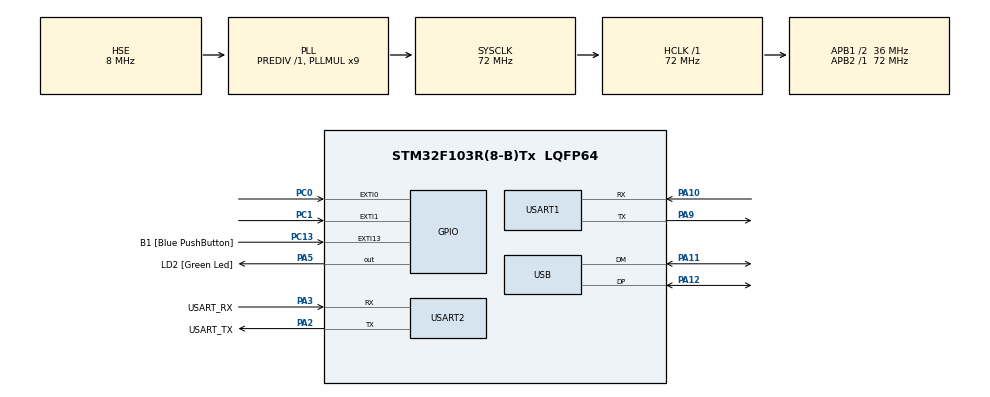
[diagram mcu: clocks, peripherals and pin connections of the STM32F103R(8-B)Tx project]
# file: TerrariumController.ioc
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FREERTOS.Tasks01=defaultTask,24,128,StartDefaultTask,Default,NULL,Dynamic,NULL,NULL
FREERTOS.configUSE_NEWLIB_REENTRANT=1
Mcu.Family=STM32F1
Mcu.Name=STM32F103R(8-B)Tx
Mcu.Package=LQFP64
NVIC.EXTI0_IRQn=true\:5\:0\:false\:false\:true\:true\:true\:true\:true
NVIC.EXTI15_10_IRQn=true\:5\:0\:false\:false\:true\:true\:true\:true\:true
NVIC.EXTI1_IRQn=true\:5\:0\:false\:false\:true\:true\:true\:true\:true
NVIC.PriorityGroup=NVIC_PRIORITYGROUP_4
NVIC.TIM1_UP_IRQn=true\:5\:0\:true\:false\:true\:false\:false\:true\:true
NVIC.TimeBase=TIM1_UP_IRQn
NVIC.TimeBaseIP=TIM1
NVIC.USART1_IRQn=true\:5\:0\:false\:false\:true\:true\:true\:true\:true
NVIC.USART2_IRQn=true\:5\:0\:false\:false\:true\:true\:true\:true\:true
NVIC.USB_LP_CAN1_RX0_IRQn=true\:5\:0\:false\:false\:true\:true\:false\:true\:true
PA10.Mode=Asynchronous
PA10.Signal=USART1_RX
PA11.Mode=Device
PA11.Signal=USB_DM
PA12.Mode=Device
PA12.Signal=USB_DP
PA13.GPIO_Label=TMS
PA13.Mode=Serial_Wire
PA13.Signal=SYS_JTMS-SWDIO
PA14.GPIO_Label=TCK
PA14.Mode=Serial_Wire
PA14.Signal=SYS_JTCK-SWCLK
PA2.GPIO_Label=USART_TX
PA2.GPIO_Mode=GPIO_MODE_AF_PP
PA2.GPIO_PuPd=GPIO_NOPULL
PA2.GPIO_Speed=GPIO_SPEED_FREQ_LOW
PA2.Mode=Asynchronous
PA2.Signal=USART2_TX
PA3.GPIO_Label=USART_RX
PA3.GPIO_Mode=GPIO_MODE_AF_PP
PA3.GPIO_PuPd=GPIO_NOPULL
PA3.GPIO_Speed=GPIO_SPEED_FREQ_LOW
PA3.Mode=Asynchronous
PA3.Signal=USART2_RX
PA5.GPIO_Label=LD2 [Green Led]
PA5.GPIO_ModeDefaultOutputPP=GPIO_MODE_OUTPUT_PP
PA5.GPIO_PuPd=GPIO_NOPULL
PA5.GPIO_Speed=GPIO_SPEED_FREQ_LOW
PA5.Signal=GPIO_Output
PA9.Mode=Asynchronous
PA9.Signal=USART1_TX
PB3.GPIO_Label=SWO
PB3.Signal=SYS_JTDO-TRACESWO
PC0.Signal=GPXTI0
PC1.Signal=GPXTI1
PC13-TAMPER-RTC.GPIO_Label=B1 [Blue PushButton]
PC13-TAMPER-RTC.GPIO_PuPd=GPIO_NOPULL
PC13-TAMPER-RTC.Signal=GPXTI13
PC14-OSC32_IN.Mode=LSE-External-Oscillator
PC14-OSC32_IN.Signal=RCC_OSC32_IN
PC15-OSC32_OUT.Mode=LSE-External-Oscillator
PC15-OSC32_OUT.Signal=RCC_OSC32_OUT
PD0-OSC_IN.Mode=HSE-External-Oscillator
PD0-OSC_IN.Signal=RCC_OSC_IN
PD1-OSC_OUT.Mode=HSE-External-Oscillator
PD1-OSC_OUT.Signal=RCC_OSC_OUT
ProjectManager.HeapSize=0x200
ProjectManager.StackSize=0x400
ProjectManager.TargetToolchain=STM32CubeIDE
RCC.AHBFreq_Value=72000000
RCC.APB1CLKDivider=RCC_HCLK_DIV2
RCC.APB1Freq_Value=36000000
RCC.APB1TimFreq_Value=72000000
RCC.APB2Freq_Value=72000000
RCC.APB2TimFreq_Value=72000000
RCC.HCLKFreq_Value=72000000
RCC.PLLMUL=RCC_PLL_MUL9
RCC.RTCClockSelection=RCC_RTCCLKSOURCE_LSE
RCC.SYSCLKFreq_VALUE=72000000
RCC.SYSCLKSource=RCC_SYSCLKSOURCE_PLLCLK
RCC.USBFreq_Value=48000000
RCC.USBPrescaler=RCC_USBCLKSOURCE_PLL_DIV1_5
USART1.VirtualMode=VM_ASYNC
USART2.VirtualMode=VM_ASYNC
USB_DEVICE.CLASS_NAME_FS=CDC
USB_DEVICE.VirtualMode=Cdc
USB_DEVICE.VirtualModeFS=Cdc_FS
VP_FREERTOS_VS_CMSIS_V2.Mode=CMSIS_V2
VP_SYS_VS_tim1.Mode=TIM1
VP_USB_DEVICE_VS_USB_DEVICE_CDC_FS.Mode=CDC_FS
board=NUCLEO-F103RB

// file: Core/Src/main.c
/* USER CODE BEGIN Header */
/**
  ******************************************************************************
  * @file           : main.c
  * @brief          : Main program body
  ******************************************************************************
  * @attention
  *
  * Copyright (c) 2024 STMicroelectronics.
  * All rights reserved.
  *
  * This software is licensed under terms that can be found in the LICENSE file
  * in the root directory of this software component.
  * If no LICENSE file comes with this software, it is provided AS-IS.
  *
  ******************************************************************************
  */
/* USER CODE END Header */
#include "main.h"
#include "cmsis_os.h"
#include "usb_device.h"

/* USER CODE BEGIN Includes */
#include "dht11.h"
/* USER CODE END Includes */

UART_HandleTypeDef huart1;
UART_HandleTypeDef huart2;

/* Definitions for defaultTask */
osThreadId_t defaultTaskHandle;
const osThreadAttr_t defaultTask_attributes = {
  .name = "defaultTask",
  .stack_size = 128 * 4,
  .priority = (osPriority_t) osPriorityNormal,
};

void SystemClock_Config(void);
static void MX_GPIO_Init(void);
static void MX_USART2_UART_Init(void);
static void MX_USART1_UART_Init(void);
void StartDefaultTask(void *argument);

/* USER CODE BEGIN PFP */
extern void App_Init(void);

// Interrupt handlers
extern void Logger_TransmitCompleteInterruptCallback(void);
/* USER CODE END PFP */

int main(void)
{

  /* MCU Configuration--------------------------------------------------------*/

  /* Reset of all peripherals, Initializes the Flash interface and the Systick. */
  HAL_Init();

  /* Configure the system clock */
  SystemClock_Config();

  /* USER CODE BEGIN SysInit */
  CoreDebug->DEMCR |= CoreDebug_DEMCR_TRCENA_Msk;
  DWT->CYCCNT = 0;
  DWT->CTRL |= DWT_CTRL_CYCCNTENA_Msk;
  /* USER CODE END SysInit */

  /* Initialize all configured peripherals */
  MX_GPIO_Init();
  MX_USART2_UART_Init();
  MX_USART1_UART_Init();
  /* USER CODE BEGIN 2 */
  App_Init();
  /* USER CODE END 2 */

  /* Init scheduler */
  osKernelInitialize();

  /* Create the thread(s) */
  /* creation of defaultTask */
  defaultTaskHandle = osThreadNew(StartDefaultTask, NULL, &defaultTask_attributes);

  /* Start scheduler */
  osKernelStart();

  /* We should never get here as control is now taken by the scheduler */

  /* Infinite loop */
  while (1)
  {

  }
}

void SystemClock_Config(void)
{
  RCC_OscInitTypeDef RCC_OscInitStruct = {0};
  RCC_ClkInitTypeDef RCC_ClkInitStruct = {0};
  RCC_PeriphCLKInitTypeDef PeriphClkInit = {0};

  /** Initializes the RCC Oscillators according to the specified parameters
  * in the RCC_OscInitTypeDef structure.
  */
  RCC_OscInitStruct.OscillatorType = RCC_OSCILLATORTYPE_HSE;
  RCC_OscInitStruct.HSEState = RCC_HSE_ON;
  RCC_OscInitStruct.HSEPredivValue = RCC_HSE_PREDIV_DIV1;
  RCC_OscInitStruct.HSIState = RCC_HSI_ON;
  RCC_OscInitStruct.PLL.PLLState = RCC_PLL_ON;
  RCC_OscInitStruct.PLL.PLLSource = RCC_PLLSOURCE_HSE;
  RCC_OscInitStruct.PLL.PLLMUL = RCC_PLL_MUL9;
  if (HAL_RCC_OscConfig(&RCC_OscInitStruct) != HAL_OK)
  {
    Error_Handler();
  }

  /** Initializes the CPU, AHB and APB buses clocks
  */
  RCC_ClkInitStruct.ClockType = RCC_CLOCKTYPE_HCLK|RCC_CLOCKTYPE_SYSCLK
                              |RCC_CLOCKTYPE_PCLK1|RCC_CLOCKTYPE_PCLK2;
  RCC_ClkInitStruct.SYSCLKSource = RCC_SYSCLKSOURCE_PLLCLK;
  RCC_ClkInitStruct.AHBCLKDivider = RCC_SYSCLK_DIV1;
  RCC_ClkInitStruct.APB1CLKDivider = RCC_HCLK_DIV2;
  RCC_ClkInitStruct.APB2CLKDivider = RCC_HCLK_DIV1;

  if (HAL_RCC_ClockConfig(&RCC_ClkInitStruct, FLASH_LATENCY_2) != HAL_OK)
  {
    Error_Handler();
  }
  PeriphClkInit.PeriphClockSelection = RCC_PERIPHCLK_USB;
  PeriphClkInit.UsbClockSelection = RCC_USBCLKSOURCE_PLL_DIV1_5;
  if (HAL_RCCEx_PeriphCLKConfig(&PeriphClkInit) != HAL_OK)
  {
    Error_Handler();
  }
}

static void MX_USART1_UART_Init(void)
{

  huart1.Instance = USART1;
  huart1.Init.BaudRate = 115200;
  huart1.Init.WordLength = UART_WORDLENGTH_8B;
  huart1.Init.StopBits = UART_STOPBITS_1;
  huart1.Init.Parity = UART_PARITY_NONE;
  huart1.Init.Mode = UART_MODE_TX_RX;
  huart1.Init.HwFlowCtl = UART_HWCONTROL_NONE;
  huart1.Init.OverSampling = UART_OVERSAMPLING_16;
  if (HAL_UART_Init(&huart1) != HAL_OK)
  {
    Error_Handler();
  }

}

static void MX_USART2_UART_Init(void)
{

  huart2.Instance = USART2;
  huart2.Init.BaudRate = 115200;
  huart2.Init.WordLength = UART_WORDLENGTH_8B;
  huart2.Init.StopBits = UART_STOPBITS_1;
  huart2.Init.Parity = UART_PARITY_NONE;
  huart2.Init.Mode = UART_MODE_TX_RX;
  huart2.Init.HwFlowCtl = UART_HWCONTROL_NONE;
  huart2.Init.OverSampling = UART_OVERSAMPLING_16;
  if (HAL_UART_Init(&huart2) != HAL_OK)
  {
    Error_Handler();
  }

}

static void MX_GPIO_Init(void)
{
  GPIO_InitTypeDef GPIO_InitStruct = {0};

  /* GPIO Ports Clock Enable */
  __HAL_RCC_GPIOC_CLK_ENABLE();
  __HAL_RCC_GPIOD_CLK_ENABLE();
  __HAL_RCC_GPIOA_CLK_ENABLE();
  __HAL_RCC_GPIOB_CLK_ENABLE();

  /*Configure GPIO pin Output Level */
  HAL_GPIO_WritePin(LD2_GPIO_Port, LD2_Pin, GPIO_PIN_RESET);

  /*Configure GPIO pins : B1_Pin PC0 PC1 */
  GPIO_InitStruct.Pin = B1_Pin|GPIO_PIN_0|GPIO_PIN_1;
  GPIO_InitStruct.Mode = GPIO_MODE_IT_RISING;
  GPIO_InitStruct.Pull = GPIO_NOPULL;
  HAL_GPIO_Init(GPIOC, &GPIO_InitStruct);

  /*Configure GPIO pin : LD2_Pin */
  GPIO_InitStruct.Pin = LD2_Pin;
  GPIO_InitStruct.Mode = GPIO_MODE_OUTPUT_PP;
  GPIO_InitStruct.Pull = GPIO_NOPULL;
  GPIO_InitStruct.Speed = GPIO_SPEED_FREQ_LOW;
  HAL_GPIO_Init(LD2_GPIO_Port, &GPIO_InitStruct);

  /* EXTI interrupt init*/
  HAL_NVIC_SetPriority(EXTI0_IRQn, 5, 0);
  HAL_NVIC_EnableIRQ(EXTI0_IRQn);

  HAL_NVIC_SetPriority(EXTI1_IRQn, 5, 0);
  HAL_NVIC_EnableIRQ(EXTI1_IRQn);

  HAL_NVIC_SetPriority(EXTI15_10_IRQn, 5, 0);
  HAL_NVIC_EnableIRQ(EXTI15_10_IRQn);

}

/* USER CODE BEGIN 4 */
void HAL_GPIO_EXTI_Callback(uint16_t GPIO_Pin)
{
	switch (GPIO_Pin)
	{
	case GPIO_PIN_0:
		HAL_GPIO_TogglePin(LD2_GPIO_Port, LD2_Pin);
		DHT11_InterruptHandler();
		break;
	case GPIO_PIN_1:
		HAL_GPIO_TogglePin(LD2_GPIO_Port, LD2_Pin);
		break;
	case GPIO_PIN_13:
		HAL_GPIO_TogglePin(LD2_GPIO_Port, LD2_Pin);
		break;
	}
}

void HAL_UART_RxCpltCallback(UART_HandleTypeDef *huart)
{
	switch ((uint32_t) huart->Instance)
	{
	case USART1_BASE:
		break;
	case USART2_BASE:
//		HAL_UART_Receive_IT(&huart1, rx_buff, 10);
		break;
	case USART3_BASE:
		break;
	}
}

void HAL_UART_TxCpltCallback(UART_HandleTypeDef *huart)
{
	switch ((uint32_t) huart->Instance)
	{
	case USART1_BASE:
		break;
	case USART2_BASE:
		break;
	case USART3_BASE:
		break;
	}
}
/* USER CODE END 4 */

void StartDefaultTask(void *argument)
{
  /* init code for USB_DEVICE */
  MX_USB_DEVICE_Init();
  for(;;)
  {
    osDelay(1);
  }
}

void HAL_TIM_PeriodElapsedCallback(TIM_HandleTypeDef *htim)
{
  if (htim->Instance == TIM1) {
    HAL_IncTick();
  }
}

void Error_Handler(void)
{
  __disable_irq();
  while (1)
  {
  }
}
